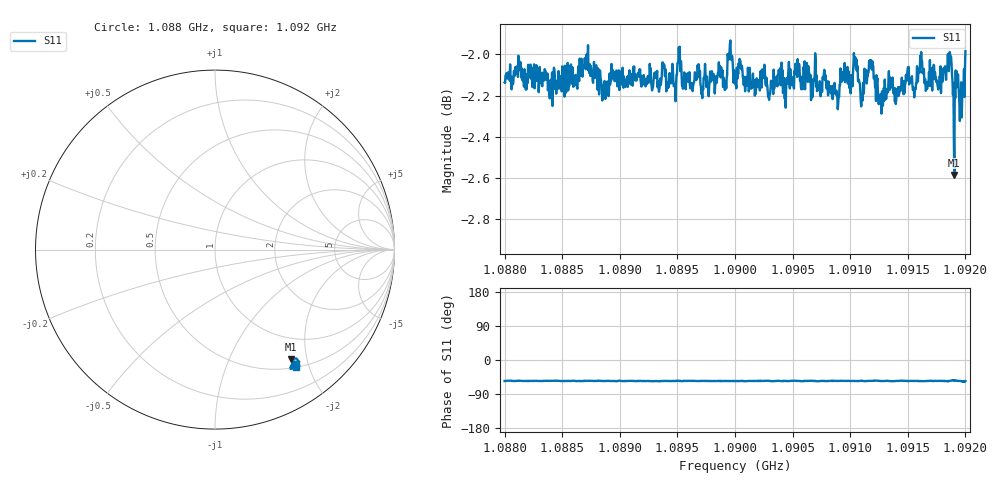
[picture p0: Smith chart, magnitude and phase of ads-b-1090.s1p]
! Calibrated averaged scanner-service zoom
# Hz S RI R 50
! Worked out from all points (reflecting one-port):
!   1001 points, 1.088 GHz to 1.092 GHz, reference 50 ohm
!   lowest |S11| = -2.6 dB at 1.0919 GHz (marker M1), VSWR 6.77, Z = 31.8 - j86.5 ohm
!   phase of S11 starts at -55 deg and turns -0 deg over the sweep
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1.088e9  0.4439 -0.6438
1.088128e9  0.4591 -0.6445
1.088176e9  0.4432 -0.6436
1.0885e9  0.4453 -0.6514
1.089e9  0.4585 -0.6374
1.089344e9  0.4334 -0.6477
1.0895e9  0.4509 -0.6489
1.089912e9  0.4439 -0.6397
1.089956e9  0.4587 -0.6543
1.09e9  0.4457 -0.6441
1.0905e9  0.4475 -0.6405
1.09058e9  0.443 -0.6474
1.090656e9  0.4545 -0.6404
1.090724e9  0.438 -0.6464
1.091e9  0.4461 -0.6449
1.091128e9  0.439 -0.6478
1.09118e9  0.4522 -0.6501
1.091236e9  0.4537 -0.6392
1.091368e9  0.4426 -0.6473
1.091424e9  0.4461 -0.636
1.0915e9  0.4502 -0.6473
1.091556e9  0.4409 -0.638
1.09162e9  0.4462 -0.6543
1.09178e9  0.4483 -0.6434
1.091852e9  0.4399 -0.6554
1.091904e9  0.4229 -0.6103
1.091976e9  0.4379 -0.6469
1.092e9  0.4499 -0.6565
